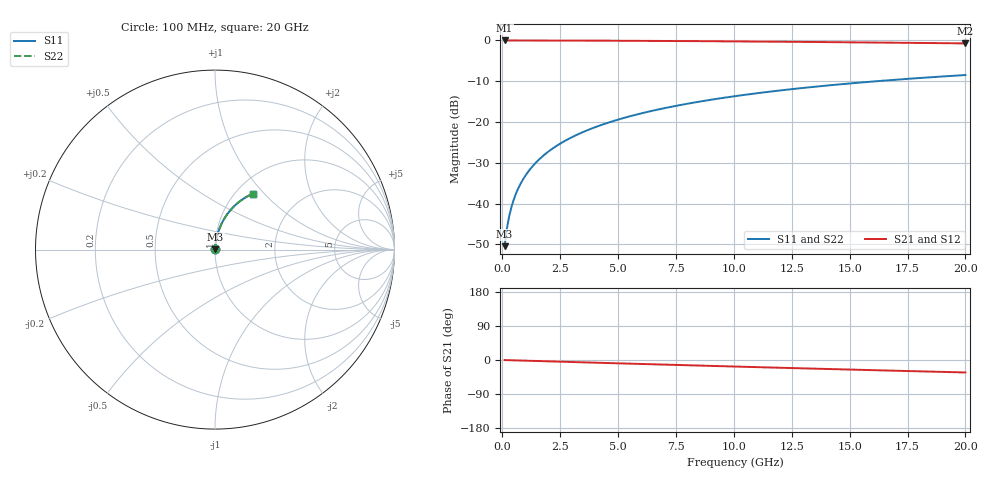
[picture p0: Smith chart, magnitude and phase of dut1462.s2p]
! Touchstone file exported from HFSS 2026.1.0
!  File:  C:/ffzhzh/LocalFiles/Ansys_Project_Files/temp_train_TMRDL_1462_1783167379_43440.aedt
!  Generated:  08:17:34 PM Jul  4, 2026
!  Design:  TMRDL
!  Project:  temp_train_TMRDL_1462_1783167379_43440
! Variables:
!  h_bsmrdl = 2um
!  h_ox = 20um
!  h_rdl = 5um
!  h_sub = 80um
!  h_tmrdl = 4.43um
!  h_tsv = 80um
!  h_via = 3um
!  l_bsmrdl = 300um
!  l_sub = 802.48um
!  l_tmrdl = 402.48um
!  m_sub = 200um
!  pitch = 59.09um
!  r_tsv = 6um
!  s_tmrdl = 10um
!  w_bsmrdl = 18um
!  w_sub = 500um
!  w_tmrdl = 17.61um
!  x_tsv_center1 = 411.285um
!  x_tsv_center2 = 729.285um
!  x_tsv_center3 = 1149.375um
!  x_tsv_center4 = 1467.375um
!  x_tsv_center5 = 1887.465um
!  x_tsv_center6 = 2205.465um
# GHz S MA R 50.000000
! Terminal data exported
! Port[1] = TM_RDL1_1_T1
! Port[2] = TM_RDL1_1_T2
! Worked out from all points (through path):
!   200 points, 100 MHz to 20 GHz, reference 50 ohm
!   highest |S21| = -0.02 dB at 100 MHz (marker M1); lowest = -0.7 dB at 20 GHz (marker M2)
!   group delay of S21, straight-line fit = 4.57 ps
!   lowest |S11| = -50.4 dB at 100 MHz (marker M3), VSWR 1.01, Z = 50.2 + j0.228 ohm
!   |S11| at or under -10 dB: start of sweep to 16.18 GHz
!   |S22| runs from -50.4 to -8.5 dB; largest |S21 - S12| = 5e-15
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0.1  0.003007 49.1  0.998 -0.2  0.998 -0.2  0.003007 49.1
! Gamma 0 0 0 0
! Port Impedance 50 0 50 0
0.2  0.00496 65.6  0.998 -0.4  0.998 -0.4  0.00496 65.6
0.3  0.00706 72.2  0.9979 -0.5  0.9979 -0.5  0.00706 72.2
0.4  0.009186 75.7  0.9978 -0.7  0.9978 -0.7  0.009186 75.7
0.5  0.01132 77.8  0.9977 -0.9  0.9977 -0.9  0.01132 77.8
0.7  0.0156 80.3  0.9976 -1.3  0.9976 -1.3  0.0156 80.3
0.8  0.01775 81.0  0.9975 -1.4  0.9975 -1.4  0.01775 81.0
1  0.02205 82.0  0.9974 -1.8  0.9974 -1.8  0.02205 82.0
1.2  0.02636 82.5  0.9972 -2.1  0.9972 -2.1  0.02636 82.5
1.4  0.03067 82.8  0.9971 -2.5  0.9971 -2.5  0.03067 82.8
1.7  0.03713 83.0  0.9968 -3.0  0.9968 -3.0  0.03713 83.0
2  0.04359 82.9  0.9964 -3.6  0.9964 -3.6  0.04359 82.9
2.7  0.05859 82.3  0.9953 -4.8  0.9953 -4.8  0.05859 82.3
3.5  0.07559 81.3  0.9938 -6.2  0.9938 -6.2  0.07559 81.3
4.2  0.09032 80.3  0.9923 -7.4  0.9923 -7.4  0.09032 80.3
5  0.107 79.0  0.9902 -8.8  0.9902 -8.8  0.107 79.0
6.8  0.1437 76.2  0.9848 -11.9  0.9848 -11.9  0.1437 76.2
8.3  0.1735 73.8  0.9794 -14.4  0.9794 -14.4  0.1735 73.8
10.1  0.2082 70.9  0.972 -17.4  0.972 -17.4  0.2082 70.9
13.4  0.2687 65.8  0.9563 -22.7  0.9563 -22.7  0.2687 65.8
16.7  0.3248 60.8  0.9383 -27.9  0.9383 -27.9  0.3248 60.8
20  0.3761 55.9  0.9187 -32.9  0.9187 -32.9  0.3761 55.9
